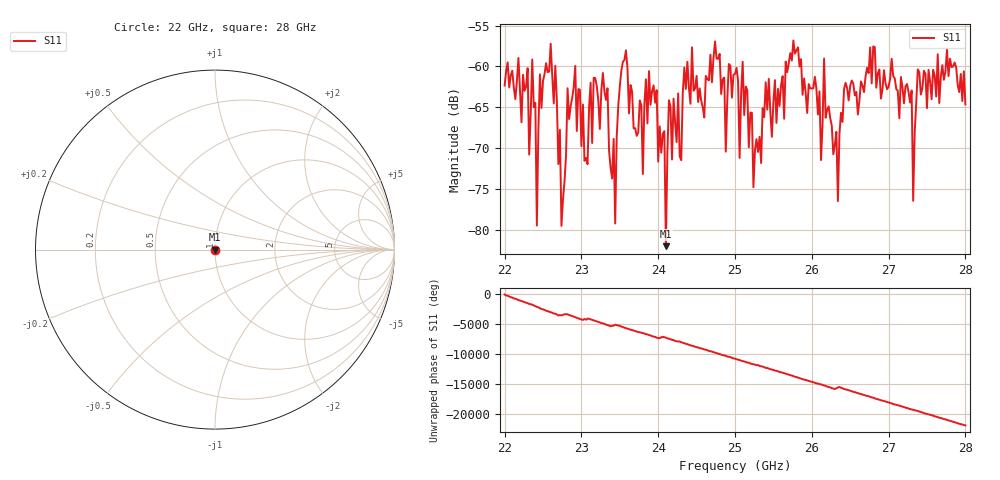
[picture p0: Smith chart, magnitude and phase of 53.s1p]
#  HZ  S  RI  R  50.00
! Rohde & Schwarz ZVA40 4Ports - Version 3.90 - 1145.1110k42 SN: 100403
! Date: 2023-10-04 11:24:29
! Measurement: S12
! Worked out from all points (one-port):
!   301 points, 22 GHz to 28 GHz, reference 50 ohm
!   lowest |S11| = -82.0 dB at 24.1 GHz (marker M1), VSWR 1.00, Z = 50 - j0.0064 ohm
!   |S11| at or under -10 dB: start of sweep to end of sweep
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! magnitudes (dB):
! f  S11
! 22 GHz  -62.4
! 22.32 GHz  -70.8
! 22.36 GHz  -59.2
! 22.42 GHz  -79.5
! 22.46 GHz  -61.0
! 22.6 GHz  -57.2
! 22.76 GHz  -76.3
! 22.82 GHz  -62.7
! 23.08 GHz  -72.0
! 23.28 GHz  -60.8
! 23.44 GHz  -79.2
! 23.5 GHz  -62.5
! 23.8 GHz  -73.2
! 23.98 GHz  -62.9
! 24.1 GHz  -82.0
! 24.14 GHz  -64.2
! 24.26 GHz  -63.3
! 25 GHz  -60.9
! 25.24 GHz  -74.8
! 25.76 GHz  -56.8
! 26.12 GHz  -71.5
! 26.16 GHz  -59.0
! 26.34 GHz  -76.5
! 26.5 GHz  -62.4
! 27.26 GHz  -63.2
! 27.32 GHz  -76.5
! 27.38 GHz  -60.4
! 28 GHz  -64.7
